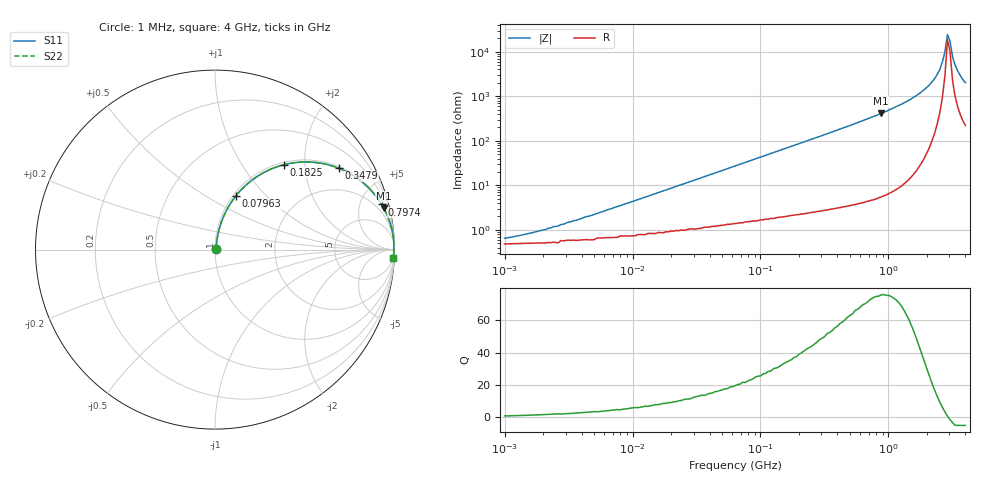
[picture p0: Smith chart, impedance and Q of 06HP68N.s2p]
# MHz S MA R 50
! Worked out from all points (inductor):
!   181 points, 1 MHz to 4 GHz, reference 50 ohm
!   read as one part in series: L = 67.7 nH near 4.172 MHz
!   highest Q = 75.5 at 874.3 MHz (marker M1), where L = 74.7 nH
!   self-resonance near 2.897 GHz
!   S11 on the Smith chart (normalised r, x): 1 MHz: 1.01, +0.01; 79.63 MHz: 1.03, +0.68; 182.5 MHz: 1.04, +1.57; 347.9 MHz: 1.06, +3.01; 797.4 MHz: 1.09, +7.36; 4 GHz: 6, -40
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1  0.006264 42.5  0.995 -0.2  0.995 -0.2  0.006264 42.5
2.09  0.01 59.2  0.995 -0.5  0.995 -0.5  0.01 59.2
4.172  0.019 70.4  0.994 -1.0  0.994 -1.0  0.019 70.4
16.623  0.071 79.0  0.989 -4.0  0.989 -4.0  0.071 79.0
63.246  0.258 72.1  0.953 -14.9  0.953 -14.9  0.258 72.1
79.632  0.318 68.9  0.934 -18.5  0.934 -18.5  0.318 68.9
182.513  0.609 51.0  0.777 -37.5  0.777 -37.5  0.609 51.0
263.867  0.743 40.8  0.653 -48.0  0.653 -48.0  0.743 40.8
347.899  0.826 33.2  0.548 -55.7  0.548 -55.7  0.826 33.2
797.369  0.962 15.2  0.262 -74.1  0.262 -74.1  0.962 15.2
874.344  0.969 13.7  0.236 -75.6  0.236 -75.6  0.969 13.7
1003.961  0.977 11.6  0.201 -77.6  0.201 -77.6  0.977 11.6
1666.643  0.994 5.4  0.095 -83.4  0.095 -83.4  0.994 5.4
2301.032  0.997 2.3  0.04 -84.3  0.04 -84.3  0.997 2.3
2523.164  0.997 1.4  0.025 -82.5  0.025 -82.5  0.997 1.4
2642.147  0.997 1.0  0.017 -79.9  0.017 -79.9  0.997 1.0
2766.741  0.997 0.6  0.01 -72.9  0.01 -72.9  0.997 0.6
2897.209  0.997 0.1  0.004076 -39.3  0.004076 -39.3  0.997 0.1
3033.831  0.997 -0.3  0.005785 54.1  0.005785 54.1  0.997 -0.3
3176.894  0.996 -0.7  0.013 72.5  0.013 72.5  0.996 -0.7
3326.704  0.996 -1.1  0.02 77.4  0.02 77.4  0.996 -1.1
4000  0.993 -2.8  0.049 80.9  0.049 80.9  0.993 -2.8
